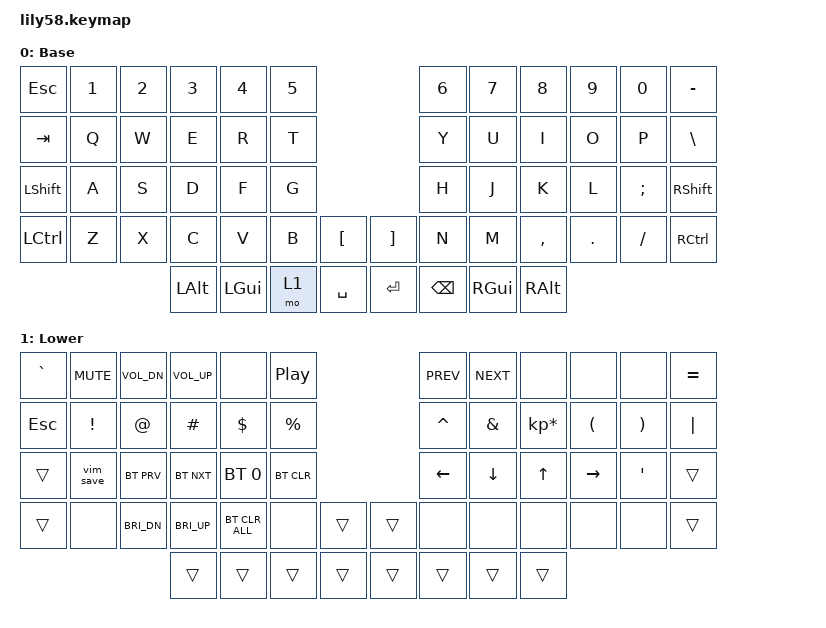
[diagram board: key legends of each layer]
#include <behaviors.dtsi>
#include <dt-bindings/zmk/keys.h>
#include <dt-bindings/zmk/bt.h>
#include <dt-bindings/zmk/ext_power.h>
 
/ {
    macros {
        vim_save: vim_save {
            compatible = "zmk,behavior-macro";
            #binding-cells = <0>;
            bindings = <&macro_tap &kp ESC &kp COLON &kp W &kp ENTER>;
        };
    };

    keymap {
        compatible = "zmk,keymap";
        default_layer {
// ------------------------------------------------------------------------------------------------------------
// |  ESC  | 1!  |  2@ |  3#  | 4$   | 5%   |                   | 6^   |  7&   |  8*   | 9(   |  0)   |   -_  |
// |  TAB  |  Q  |  W  |  E   |  R   |  T   |                   |  Y   |  U    |  I    |  O   |   P   |   \|  |
// |LSHIFT |  A  |  S  |  D   |  F   |  G   |                   |  H   |  J    |  K    |  L   |  ;:   | RSHIFT|
// | LCTRL |  Z  |  X  |  C   |  V   |  B   |  [{  |     |  ]}  |  N   |  M    |  ,<   |  .>  |  /?   | RCTRL |
//                | LALT  | LGUI  | LOWER |  SPACE |      | ENTER | BSPC | RGUI  | RALT   |
            display-name = "Base";
            bindings = <
&kp ESC   &kp N1 &kp N2 &kp N3   &kp N4   &kp N5                     &kp N6 &kp N7   &kp N8    &kp N9  &kp N0   &kp MINUS
&kp TAB   &kp Q  &kp W  &kp E    &kp R    &kp T                      &kp Y  &kp U    &kp I     &kp O   &kp P    &kp BSLH
&kp LSHFT &kp A  &kp S  &kp D    &kp F    &kp G                      &kp H  &kp J    &kp K     &kp L   &kp SEMI &kp RSHFT
&kp LCTRL &kp Z  &kp X  &kp C    &kp V    &kp B  &kp LBKT   &kp RBKT &kp N  &kp M    &kp COMMA &kp DOT &kp FSLH &kp RCTRL
                        &kp LALT &kp LGUI &mo 1  &kp SPACE  &kp RET  &kp BSPC  &kp RGUI &kp RALT
            >;
        };

        lower_layer {
// bt_prev: select previous profile
// bt_next: select next profile
// bt_sel <number>: select profile <number>
// bt_clr: clear bt profile of the current profile
// bt_clra: clear ALL bt profiles
// ------------------------------------------------------------------------------------------------------------
// |  `~   |Mute  |vol- |vol+ |      |play/pause|               | prev | next  |       |      |       |  =+   |
// |   Esc |  !  |  @  |  #   |  $   |  %   |                   |  ^   |  &    |  *    |  (   |   )   |  |    |
// |LSHIFT | M0  |b_prv|bt_nxt|bt_sel|bt_clr|                   | left | down  |  up   |right |  '"   | RSHIFT|
// |LCTRL  |     |bri- | bri+ |bt_clra|     | [{ |         | ]} |      |       |       |      |       | RCTRL |
//                | LALT  | LGUI  | LOWER |  SPACE |      | ENTER | BSPC | RGUI  | RALT   |
            display-name = "Lower";
            bindings = <
&kp GRAVE  &kp C_MUTE       &kp C_VOL_DN      &kp C_VOL_UP      &none        &kp C_PP                     &kp C_PREV    &kp C_NEXT    &none             &none       &none       &kp EQUAL
&kp ESC    &kp EXCL         &kp AT            &kp HASH          &kp DOLLAR   &kp PRCNT                    &kp CARET     &kp AMPS      &kp KP_MULTIPLY   &kp LPAR    &kp RPAR    &kp PIPE
&trans     &vim_save        &bt BT_PRV        &bt BT_NXT        &bt BT_SEL 0 &bt BT_CLR                   &kp LEFT      &kp DOWN      &kp UP            &kp RIGHT   &kp SQT     &trans
&trans     &none            &kp C_BRI_DN      &kp C_BRI_UP      &bt BT_CLR_ALL &none   &trans   &trans    &none         &none         &none             &none       &none       &trans
                                              &trans            &trans       &trans    &trans   &trans    &trans    &trans    &trans
            >;
        };

        extra_1 {
            status = "reserved";
        };

        extra_2 {
            status = "reserved";
        };

        extra_3 {
            status = "reserved";
        };
    };
};
